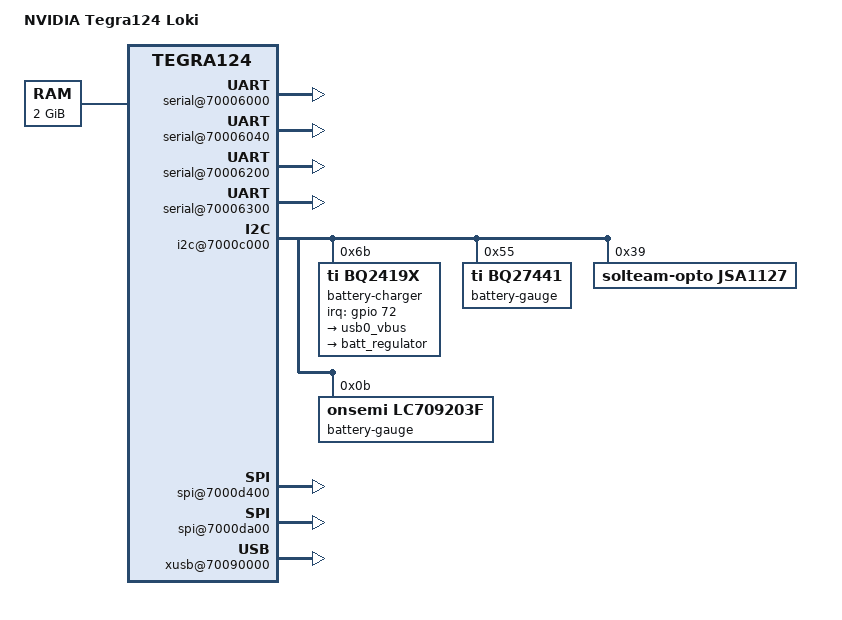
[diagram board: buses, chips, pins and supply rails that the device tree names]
/*
 * Copyright (c) 2014, NVIDIA CORPORATION.  All rights reserved.
 *
 * This program is free software; you can redistribute it and/or modify it
 * under the terms and conditions of the GNU General Public License,
 * version 2, as published by the Free Software Foundation.
 *
 * This program is distributed in the hope it will be useful, but WITHOUT
 * ANY WARRANTY; without even the implied warranty of MERCHANTABILITY or
 * FITNESS FOR A PARTICULAR PURPOSE.  See the GNU General Public License for
 * more details.
 */

/dts-v1/;

#include "tegra124-soc-shield.dtsi"
#include <dt-bindings/gpio/tegra-gpio.h>
#include <tegra124-platforms/tegra124-loki-gpio-default.dtsi>
#include <tegra124-platforms/tegra124-loki-pinmux.dtsi>
#include <tegra124-platforms/tegra124-loki-camera-a00.dtsi>
#include "tegra124-platforms/tegra124-loki-pwm-fan.dtsi"
#include "tegra124-platforms/tegra124-loki-sensor.dtsi"
#include "tegra124-platforms/tegra124-loki-thermal-fan-est.dtsi"

/ {
	model = "NVIDIA Tegra124 Loki";
	compatible = "nvidia,loki", "nvidia,tegra124";
	#address-cells = <2>;
	#size-cells = <2>;

	chosen {
		bootargs = "tegraid=40.0.0.00.00 vmalloc=256M video=tegrafb console=ttyS0,115200n8 earlyprintk";
		linux,initrd-start = <0x85000000>;
		linux,initrd-end = <0x851bc400>;
	};

	firmware {
		android {
			compatible = "android,firmware";
			hardware = "loki";
		};
	};

	serial@70006000 {
		compatible = "nvidia,tegra20-uart";
		console-port;
		dt-override-status-odm-data = <0x00038000 0x00028000>;
	};

	serial@70006040 {
		compatible = "nvidia,tegra114-hsuart";
		status = "okay";
	};

	serial@70006200 {
		compatible = "nvidia,tegra114-hsuart";
		status = "okay";
	};

	serial@70006300 {
		compatible = "nvidia,tegra20-uart", "nvidia,tegra114-hsuart";
		console-port;
		sqa-automation-port;
		dt-override-status-odm-data = <0x00038000 0x00018000>;
	};

	memory@0x80000000 {
		device_type = "memory";
		reg = <0x0 0x80000000 0x0 0x80000000>;
	};

	i2c@7000c000 {
		battery-charger@6b {
			compatible = "ti,bq2419x";
			reg = <0x6b>;
			interrupt-parent = <&gpio>;
			interrupts = <72 0x0>;
			ti,charging-term-current-mA = <100>;

			usb0_vbus: vbus {
				regulator-name = "vbus_regulator";
				ti,otg-iusb-gpio = <&gpio TEGRA_GPIO(I, 4) 0>;
				consumers {
					c1 {
						regulator-consumer-supply = "usb_vbus";
						regulator-consumer-device = "tegra-ehci.0";
					};

					c2 {
						regulator-consumer-supply = "usb_vbus";
						regulator-consumer-device = "tegra-otg";
					};
				};
			};

			charger {
				regulator-name = "batt_regulator";
				regulator-max-microamp = <3000000>;
				ti,watchdog-timeout = <160>;
				ti,rtc-alarm-time = <3600>;
				ti,auto-recharge-time = <1800>;
				ti,temp-polling-time-sec = <5>;
				ti,disbale-suspend-during-charging;
				ti,pre-charge-current-limit-milliamp = <768>;
				ti,charge-term-current-limit-milliamp = <384>;
				ti,ir-comp-resister-ohm = <70>;
				ti,ir-comp-voltage-millivolt = <112>;
				ti,thermal-regulation-threshold-degc = <100>;
				consumers {
					c1 {
						regulator-consumer-supply = "usb_bat_chg";
						regulator-consumer-device = "tegra-udc.0";
					};

					c2 {
						regulator-consumer-supply = "usb_bat_chg";
						regulator-consumer-device = "tegra-otg";
					};

				};
			};
		};

		battery-gauge@55 {
			compatible = "ti,bq27441";
			reg = <0x55>;
			ti,design-capacity = <7800>;
			ti,design-energy = <28314>;
			ti,taper-rate = <167>;
			ti,terminate-voltage = <3150>;
			ti,v-at-chg-term = <4200>;
			ti,tz-name = "Battery";
		};

		jsa1127@39 {
			compatible = "solteam-opto,jsa1127";
			reg = <0x39>;
			solteam-opto,rint = <100>;
			solteam-opto,integration-time = <2000>;
			solteam-opto,use-internal-integration-timing = <1>;
			solteam-opto,tint-coeff = <22>;
			solteam-opto,noisy = <1>;
		};

		battery-gauge@0b {
			compatible = "onsemi,lc709203f";
			reg = <0x0b>;
			onsemi,tz-name = "Battery";
		};
	};

	i2c@7000d000 {
		nvidia,bit-banging-xfer-after-shutdown;

		tps65913 {
			extcon {
				extcon-name = "palmas-extcon";
			};
		};
	};

	spi@7000d400 {
		status = "okay";
		spi-max-frequency = <25000000>;
	};

	spi@7000da00 {
		status = "okay";
		spi-max-frequency = <25000000>;
	};

	pmc@7000e400 {
		status = "okay";
		nvidia,invert-interrupt;
		nvidia,suspend-mode = <3>;
		nvidia,cpu-pwr-good-time = <500>;
		nvidia,cpu-pwr-off-time = <300>;
		nvidia,core-pwr-good-time = <3845 3845>;
		nvidia,core-pwr-off-time = <2000>;
		nvidia,core-power-req-active-high;
		nvidia,sys-clock-req-active-high;
	};

	xusb@70090000 {
		/* nvidia,uses_external_pmic;
		nvidia,gpio_controls_muxed_ss_lanes; */
		nvidia,gpio_ss1_sata = <0>;
		nvidia,portmap = <0x703>; /* SSP0, SSP1 USB2P0, USB2P1, USBP2 */
		nvidia,ss_portmap = <0x20>; /* SSP0 on USB2P0, SSP1 on USB2P2 */
		nvidia,lane_owner = <6>; /* USB3P0 USB3P1 */
		nvidia,ulpicap = <0>; /* No ulpi support. can we remove */
		usb_vbus0-supply = <&usb0_vbus>;
		status = "okay";
	};

	bthrot_cdev {
		compatible = "nvidia,balanced-throttle";
		skin_balanced {
			status = "disabled";
		};
		gpu_balanced {
			status = "disabled";
		};
		cpu_balanced {
			cdev-type = "tegra-balanced";
		};
		emergency_balanced {
			status = "disabled";
		};
	};

	therm_est_sensor {
		status = "disabled";
	};

	thermal-zones {
		therm_est {
			status = "disabled";
		};
	};

	cpu_edp {
		nvidia,edp_limit = <14000>;
	};

	gpu_edp {
		nvidia,edp_limit = <14000>;
	};

};
